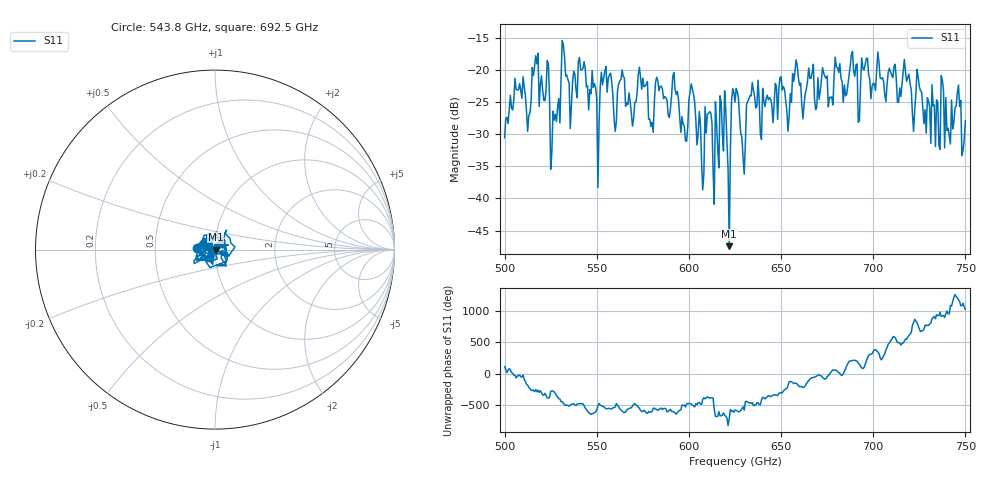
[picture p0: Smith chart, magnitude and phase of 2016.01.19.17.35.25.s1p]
!Created with skrf (http://scikit-rf.org).
# GHz S RI R 50.0
!freq ReS11 ImS11
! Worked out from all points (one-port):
!   401 points, 500 GHz to 750 GHz, reference 50 ohm
!   lowest |S11| = -47.4 dB at 621.9 GHz (marker M1), VSWR 1.01, Z = 50.4 + j0.0451 ohm
!   |S11| at or under -10 dB: start of sweep to end of sweep
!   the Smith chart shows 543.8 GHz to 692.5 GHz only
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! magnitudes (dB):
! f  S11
! 500 GHz  -30.6
! 506.9 GHz  -23.1
! 513.1 GHz  -27.1
! 516.9 GHz  -17.8
! 526.2 GHz  -26.4
! 531.2 GHz  -15.4
! 541.9 GHz  -20.0
! 550.6 GHz  -38.3
! 553.8 GHz  -21.3
! 560 GHz  -29.5
! 562.5 GHz  -21.7
! 569.4 GHz  -28.7
! 576.2 GHz  -22.5
! 579.4 GHz  -28.8
! 583.1 GHz  -21.7
! 593.8 GHz  -23.3
! 598.1 GHz  -31.0
! 601.9 GHz  -22.9
! 606.9 GHz  -34.3
! 618.1 GHz  -29.9
! 621.9 GHz  -47.4
! 625 GHz  -25.0
! 629.4 GHz  -33.7
! 633.8 GHz  -24.0
! 656.2 GHz  -20.6
! 687.5 GHz  -19.4
! 718.8 GHz  -21.1
! 750 GHz  -27.9
